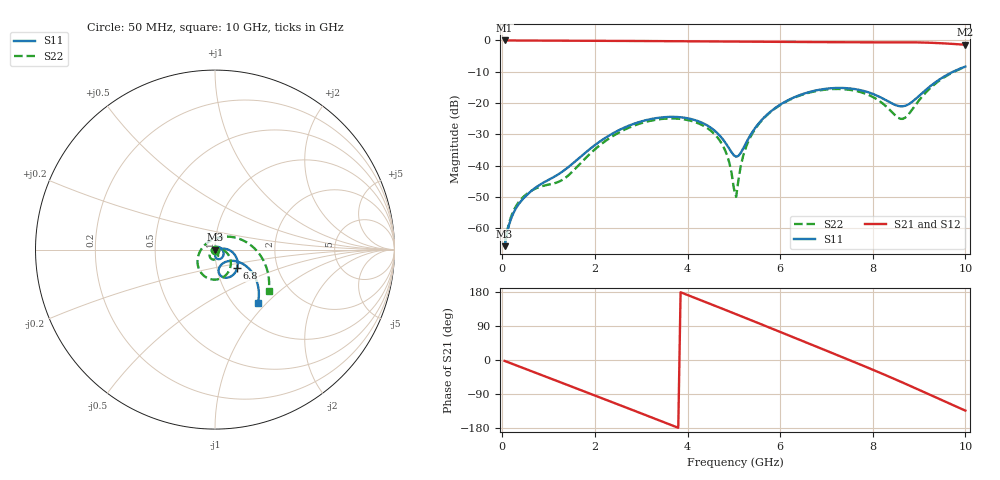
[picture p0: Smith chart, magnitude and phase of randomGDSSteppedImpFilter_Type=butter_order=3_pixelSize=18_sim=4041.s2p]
! freq	dB(S11)	phase(S11)	dB(S12)	phase(S12)
!  dB(S21)	phase(S21)	dB(S22)	phase(S22)
!S-par simulation data
#  GHz  S  DB  R 50
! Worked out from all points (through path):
!   200 points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, 50 MHz to 10 GHz, reference 50 ohm
!   highest |S21| = -0.01 dB at 50 MHz (marker M1); lowest = -1.4 dB at 10 GHz (marker M2)
!   group delay of S21, straight-line fit = 136 ps
!   lowest |S11| = -65.8 dB at 50 MHz (marker M3), VSWR 1.00, Z = 50 - j0.0314 ohm
!   |S11| at or under -10 dB: start of sweep to 9.735 GHz
!   |S22| runs from -65.6 to -8.5 dB; largest |S21 - S12| = 0
!   S11 on the Smith chart (normalised r, x): 50 MHz: 1.00, -0.00; 6.8 GHz: 1.25, -0.26; 10 GHz: 1.28, -0.89
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0.05  -65.80 -37.6  -0.01 -2.4  -0.01 -2.4  -65.59 -35.9
0.2  -56.60 -89.0  -0.02 -9.4  -0.02 -9.4  -55.95 -76.0
0.4  -51.48 -116.8  -0.03 -18.8  -0.03 -18.8  -50.88 -87.2
1.1  -43.78 153.3  -0.06 -51.5  -0.06 -51.5  -45.77 -84.9
1.75  -36.44 69.3  -0.09 -82.0  -0.09 -82.0  -38.35 -46.5
2.5  -28.83 9.9  -0.14 -117.3  -0.14 -117.3  -29.60 -57.6
3.4  -24.68 -40.9  -0.21 -159.9  -0.21 -159.9  -25.19 -91.8
4  -24.88 -69.4  -0.26 171.6  -0.26 171.6  -25.45 -118.2
4.6  -29.04 -89.2  -0.30 142.7  -0.30 142.7  -30.23 -147.9
4.85  -33.43 -83.7  -0.31 130.6  -0.31 130.6  -36.57 -165.6
5.05  -37.20 -46.1  -0.32 120.9  -0.32 120.9  -50.01 89.6
5.2  -34.60 -8.7  -0.33 113.5  -0.33 113.5  -37.00 21.6
5.5  -27.22 6.6  -0.35 98.8  -0.35 98.8  -27.48 -1.0
6.1  -19.66 -10.6  -0.42 69.1  -0.42 69.1  -19.79 -32.8
6.7  -16.23 -35.1  -0.51 39.4  -0.51 39.4  -16.43 -63.8
6.8  -15.90 -39.2  -0.53 34.5  -0.53 34.5  -16.12 -69.0
7.6  -15.53 -69.7  -0.59 -5.4  -0.59 -5.4  -16.04 -113.6
8.35  -19.63 -77.1  -0.57 -43.8  -0.57 -43.8  -21.96 -177.5
8.65  -21.06 -55.1  -0.57 -59.8  -0.57 -59.8  -25.08 114.0
9.15  -15.75 -27.2  -0.70 -87.1  -0.70 -87.1  -16.56 23.8
9.55  -11.46 -34.2  -0.95 -109.1  -0.95 -109.1  -11.72 -8.5
10  -8.36 -51.1  -1.39 -133.5  -1.39 -133.5  -8.46 -37.4
